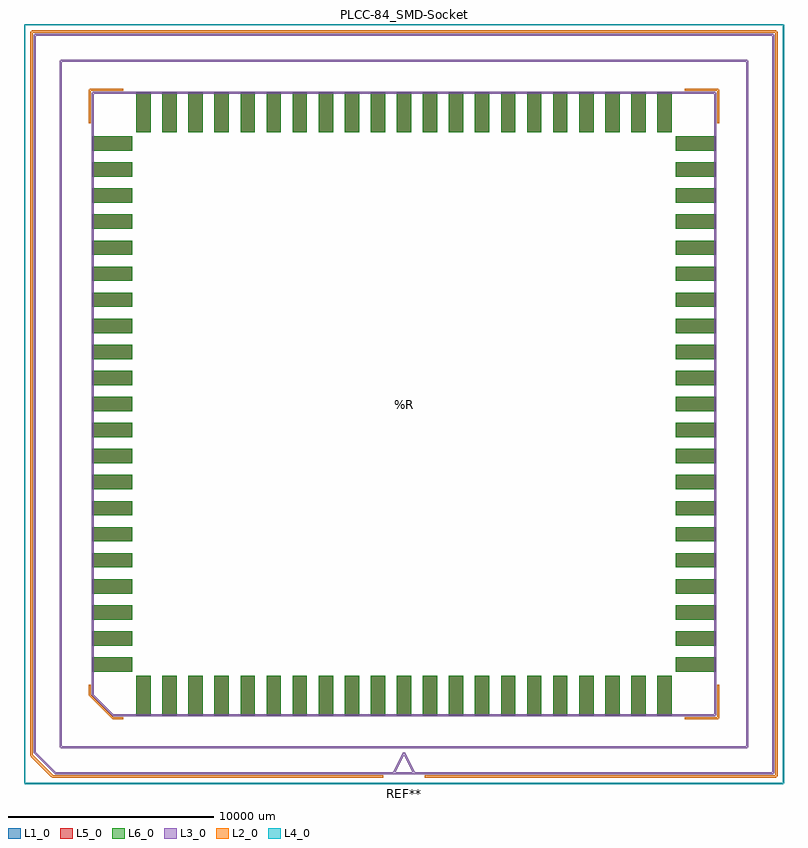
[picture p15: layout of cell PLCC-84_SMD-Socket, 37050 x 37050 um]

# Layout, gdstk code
import gdstk
lib = gdstk.Library(unit=1e-6, precision=1e-09)
def R(c, l, rs):  # rectangles x0, y0, x1, y1
    for r in rs: c.add(gdstk.rectangle(r[:2], r[2:], *l))
def A(c, l, x, y, w, h, nx, ny, dx, dy):  # array of equal rectangles
    R(c, l, [(x+i*dx, y+j*dy, x+i*dx+w, y+j*dy+h) for i in range(nx) for j in range(ny)])
L1_0 = (1, 0)
L2_0 = (2, 0)
L3_0 = (3, 0)
L4_0 = (4, 0)
L5_0 = (5, 0)
L6_0 = (6, 0)

plcc_84_smd_socket = lib.new_cell('PLCC-84_SMD-Socket')
A(plcc_84_smd_socket, L1_0, -13050, -15175, 700, 1925, 21, 2, 1270, 28425)
A(plcc_84_smd_socket, L1_0, -15175, -13050, 1925, 700, 1, 21, 0, 1270)
A(plcc_84_smd_socket, L1_0, 13250, -13050, 1925, 700, 1, 21, 0, 1270)
A(plcc_84_smd_socket, L5_0, -13050, -15175, 700, 1925, 21, 2, 1270, 28425)
A(plcc_84_smd_socket, L5_0, -15175, -13050, 1925, 700, 1, 21, 0, 1270)
A(plcc_84_smd_socket, L5_0, 13250, -13050, 1925, 700, 1, 21, 0, 1270)
A(plcc_84_smd_socket, L6_0, -13050, -15175, 700, 1925, 21, 2, 1270, 28425)
A(plcc_84_smd_socket, L6_0, -15175, -13050, 1925, 700, 1, 21, 0, 1270)
A(plcc_84_smd_socket, L6_0, 13250, -13050, 1925, 700, 1, 21, 0, 1270)
plcc_84_smd_socket.add(gdstk.FlexPath([(-17000,-18000),(-18000,-17000)], 100, ends="flush", simple_path=True, layer=3, datatype=0))  # L3_0
plcc_84_smd_socket.add(gdstk.FlexPath([(-18000,-17000),(-18000,18000)], 100, ends="flush", simple_path=True, layer=3, datatype=0))  # L3_0
plcc_84_smd_socket.add(gdstk.FlexPath([(-18000,18000),(18000,18000)], 100, ends="flush", simple_path=True, layer=3, datatype=0))  # L3_0
plcc_84_smd_socket.add(gdstk.FlexPath([(18000,18000),(18000,-18000)], 100, ends="flush", simple_path=True, layer=3, datatype=0))  # L3_0
plcc_84_smd_socket.add(gdstk.FlexPath([(18000,-18000),(-17000,-18000)], 100, ends="flush", simple_path=True, layer=3, datatype=0))  # L3_0
plcc_84_smd_socket.add(gdstk.FlexPath([(-18500,-18500),(-18500,18500)], 50, ends="flush", simple_path=True, layer=4, datatype=0))  # L4_0
plcc_84_smd_socket.add(gdstk.FlexPath([(-18500,18500),(18500,18500)], 50, ends="flush", simple_path=True, layer=4, datatype=0))  # L4_0
plcc_84_smd_socket.add(gdstk.FlexPath([(18500,18500),(18500,-18500)], 50, ends="flush", simple_path=True, layer=4, datatype=0))  # L4_0
plcc_84_smd_socket.add(gdstk.FlexPath([(18500,-18500),(-18500,-18500)], 50, ends="flush", simple_path=True, layer=4, datatype=0))  # L4_0
plcc_84_smd_socket.add(gdstk.FlexPath([(-14175,-15175),(-15175,-14175)], 100, ends="flush", simple_path=True, layer=3, datatype=0))  # L3_0
plcc_84_smd_socket.add(gdstk.FlexPath([(-15175,-14175),(-15175,15175)], 100, ends="flush", simple_path=True, layer=3, datatype=0))  # L3_0
plcc_84_smd_socket.add(gdstk.FlexPath([(-15175,15175),(15175,15175)], 100, ends="flush", simple_path=True, layer=3, datatype=0))  # L3_0
plcc_84_smd_socket.add(gdstk.FlexPath([(15175,15175),(15175,-15175)], 100, ends="flush", simple_path=True, layer=3, datatype=0))  # L3_0
plcc_84_smd_socket.add(gdstk.FlexPath([(15175,-15175),(-14175,-15175)], 100, ends="flush", simple_path=True, layer=3, datatype=0))  # L3_0
plcc_84_smd_socket.add(gdstk.FlexPath([(-16730,-16730),(-16730,16730)], 100, ends="flush", simple_path=True, layer=3, datatype=0))  # L3_0
plcc_84_smd_socket.add(gdstk.FlexPath([(-16730,16730),(16730,16730)], 100, ends="flush", simple_path=True, layer=3, datatype=0))  # L3_0
plcc_84_smd_socket.add(gdstk.FlexPath([(16730,16730),(16730,-16730)], 100, ends="flush", simple_path=True, layer=3, datatype=0))  # L3_0
plcc_84_smd_socket.add(gdstk.FlexPath([(16730,-16730),(-16730,-16730)], 100, ends="flush", simple_path=True, layer=3, datatype=0))  # L3_0
plcc_84_smd_socket.add(gdstk.FlexPath([(-500,-18000),(0,-17000)], 100, ends="flush", simple_path=True, layer=3, datatype=0))  # L3_0
plcc_84_smd_socket.add(gdstk.FlexPath([(0,-17000),(500,-18000)], 100, ends="flush", simple_path=True, layer=3, datatype=0))  # L3_0
plcc_84_smd_socket.add(gdstk.FlexPath([(-1000,-18150),(-17150,-18150)], 120, ends="flush", simple_path=True, layer=2, datatype=0))  # L2_0
plcc_84_smd_socket.add(gdstk.FlexPath([(-17150,-18150),(-18150,-17150)], 120, ends="flush", simple_path=True, layer=2, datatype=0))  # L2_0
plcc_84_smd_socket.add(gdstk.FlexPath([(-18150,-17150),(-18150,18150)], 120, ends="flush", simple_path=True, layer=2, datatype=0))  # L2_0
plcc_84_smd_socket.add(gdstk.FlexPath([(-18150,18150),(18150,18150)], 120, ends="flush", simple_path=True, layer=2, datatype=0))  # L2_0
plcc_84_smd_socket.add(gdstk.FlexPath([(18150,18150),(18150,-18150)], 120, ends="flush", simple_path=True, layer=2, datatype=0))  # L2_0
plcc_84_smd_socket.add(gdstk.FlexPath([(18150,-18150),(1000,-18150)], 120, ends="flush", simple_path=True, layer=2, datatype=0))  # L2_0
plcc_84_smd_socket.add(gdstk.FlexPath([(-13675,-15325),(-14175,-15325)], 100, ends="flush", simple_path=True, layer=2, datatype=0))  # L2_0
plcc_84_smd_socket.add(gdstk.FlexPath([(-14175,-15325),(-15325,-14175)], 100, ends="flush", simple_path=True, layer=2, datatype=0))  # L2_0
plcc_84_smd_socket.add(gdstk.FlexPath([(-15325,-14175),(-15325,-13675)], 100, ends="flush", simple_path=True, layer=2, datatype=0))  # L2_0
plcc_84_smd_socket.add(gdstk.FlexPath([(13675,-15325),(15325,-15325)], 100, ends="flush", simple_path=True, layer=2, datatype=0))  # L2_0
plcc_84_smd_socket.add(gdstk.FlexPath([(15325,-15325),(15325,-13675)], 100, ends="flush", simple_path=True, layer=2, datatype=0))  # L2_0
plcc_84_smd_socket.add(gdstk.FlexPath([(-13675,15325),(-15325,15325)], 100, ends="flush", simple_path=True, layer=2, datatype=0))  # L2_0
plcc_84_smd_socket.add(gdstk.FlexPath([(-15325,15325),(-15325,13675)], 100, ends="flush", simple_path=True, layer=2, datatype=0))  # L2_0
plcc_84_smd_socket.add(gdstk.FlexPath([(13675,15325),(15325,15325)], 100, ends="flush", simple_path=True, layer=2, datatype=0))  # L2_0
plcc_84_smd_socket.add(gdstk.FlexPath([(15325,15325),(15325,13675)], 100, ends="flush", simple_path=True, layer=2, datatype=0))  # L2_0
plcc_84_smd_socket.add(gdstk.Label('REF**', (0,-19000), layer=2, texttype=0))
plcc_84_smd_socket.add(gdstk.Label('PLCC-84_SMD-Socket', (0,19000), layer=3, texttype=0))
plcc_84_smd_socket.add(gdstk.Label('%R', (0,0), layer=3, texttype=0))

lib.write_gds('PLCC-84_SMD-Socket.gds')
